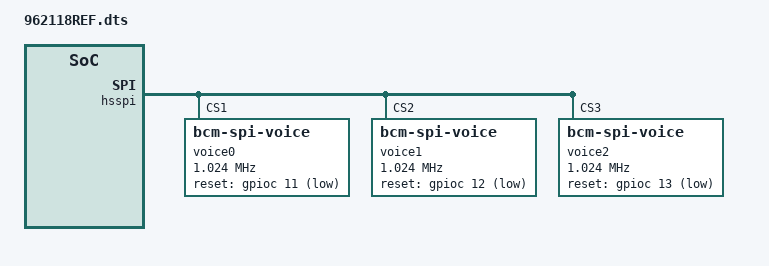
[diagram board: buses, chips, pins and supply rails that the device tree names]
#include "4908.dtsi"
#include "../bcm_voice.dtsi"

/ {
    memory_controller {
        memcfg = <(BP_DDR_SPEED_800_11_11_11 | \
                   BP_DDR_TOTAL_SIZE_1024MB  | \
                   BP_DDR_DEVICE_WIDTH_16    | \
                   BP_DDR_TOTAL_WIDTH_32BIT  | \
                   BP_DDR_SSC_CONFIG_1)>;
    };

	buttons {
		compatible = "brcm,buttons";
		reset_button {
			ext_irq = <&bca_extintr 30 BCA_GPIO_ACTIVE_LOW (BCA_EXTINTR_TYPE_LOW_LEVEL | BCA_EXTINTR_TYPE_SENSE_LEVEL)>;
			press {
				print = "Button Press -- Hold for 5s to do restore to default";
			};
			hold {
				rst_to_dflt = <5>;
			};
			release {
				reset = <0>;
			};	
		};
		ses_button {
			ext_irq = <&bca_extintr 29 BCA_GPIO_ACTIVE_LOW (BCA_EXTINTR_TYPE_LOW_LEVEL | BCA_EXTINTR_TYPE_SENSE_LEVEL)>;
			release {
				ses_short_period = <0>;
				ses_long_period = <3>;
			};
		};
	};    
};

&bcm_voice{
	sliclist = SLICSLAC_LIST_COMMON_FXO;
 };

&hsspi {
	status = "okay";
	voice0 {
		pinctrl-0 = <&spim_ss1_b_pin_56>;
		pinctrl-names = "default";
		compatible = "bcm-spi-voice";
		reg = <1>; /* chip select 1 */
		spi-max-frequency = <1024000>;
		reset-gpio = <&gpioc 11 GPIO_ACTIVE_LOW>;
		spi-index = <0>;/* voice header index */
	};
	voice1 {
		pinctrl-0 = <&spim_ss2_b_pin_23>;
		pinctrl-names = "default";
		compatible = "bcm-spi-voice";
		reg = <2>; /* chip select 2 */
		spi-max-frequency = <1024000>;
		reset-gpio = <&gpioc 12 GPIO_ACTIVE_LOW>;
		spi-index = <1>;/* voice header index */
	};
	voice2 {
		pinctrl-0 = <&spim_ss3_b_pin_22>;
		pinctrl-names = "default";
		compatible = "bcm-spi-voice";
		reg = <3>; /* chip select 3 */
		spi-max-frequency = <1024000>;
		reset-gpio = <&gpioc 13 GPIO_ACTIVE_LOW>;
		spi-index = <2>;/* voice header index */
	};
};

&mdio_sf2 {
	/* PHYs directly connected to SF2 */
	gphy8:8 {
		status = "okay";
	};
	gphy9:9 {
		status = "okay";
	};
	gphya:a {
		status = "okay";
	};
	gphyb:b {
		status = "okay";
	};

	/* PHYs connected to crossbar */
	gphyc:c {
		status = "okay";
	};

	/* Crossbar groups */
	xbar_grp1:1 {
		phy-handle = <&gphyc>;
		status = "okay";
	};
};

&switch_sf2 {
	ports {
		sf2_port0@0 {
			phy-handle = <&gphy8>;
			status = "okay";
		};

		sf2_port1@1 {
			phy-handle = <&gphy9>;
			status = "okay";
		};

		sf2_port2@2 {
			phy-handle = <&gphya>;
			status = "okay";
		};

		sf2_port3@3 {
			phy-handle = <&gphyb>;
			status = "okay";
		};

	};
};

&switch0 {
	ports {
		
		port3@3 {
			phy-handle = <&xbar_grp1>;
			phy-mode = "gmii";
			status = "okay";
		};
	};
};
